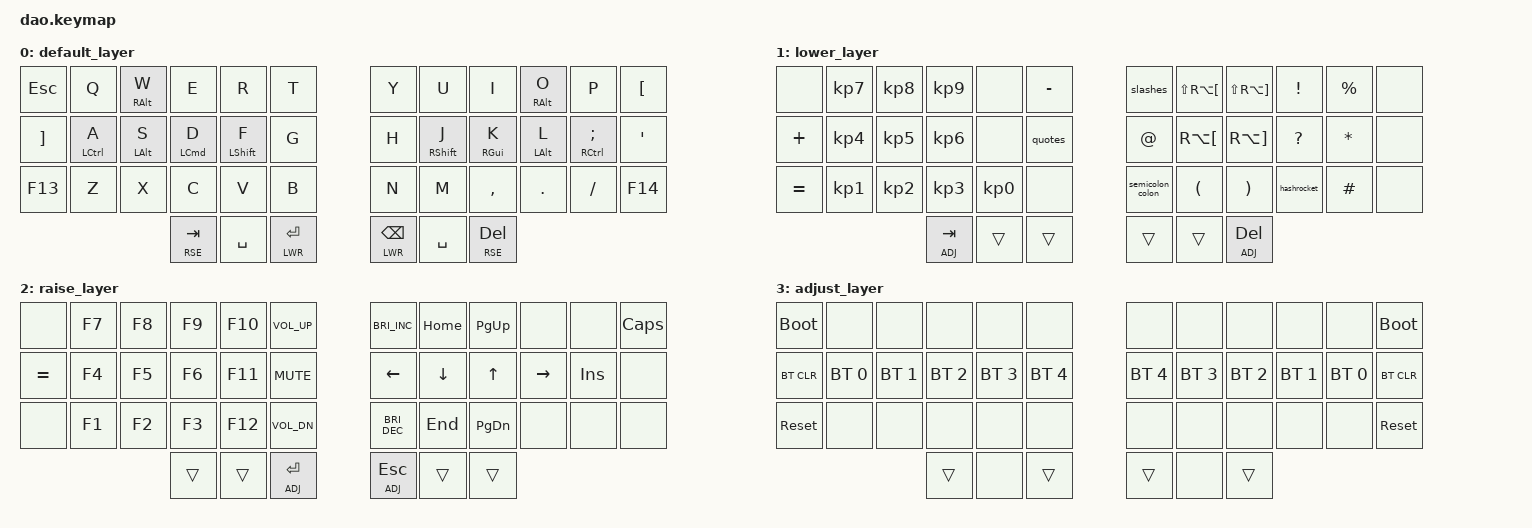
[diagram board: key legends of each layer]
/*
 * Copyright (c) 2021 Rafael Yumagulov
 *
 * SPDX-License-Identifier: MIT
 */

#include <behaviors.dtsi>
#include <dt-bindings/zmk/bt.h>
#include <dt-bindings/zmk/keys.h>

#define DEF 0
#define LWR 1
#define RSE 2
#define ADJ 3

&lt { quick_tap_ms = <200>; };

&mt { quick_tap_ms = <200>; };

/ {
    chosen {
        zmk,matrix_transform = &default_transform;

        // zmk,matrix_transform = &extra_keys_transform;
    };
};

/ {
    #include "keys_uni_override.h"

    behaviors {
        home_mods_l: home_mods_l {
            compatible = "zmk,behavior-hold-tap";
            label = "HOME_MODS_L";
            bindings = <&kp>, <&kp>;

            #binding-cells = <2>;
            tapping-term-ms = <200>;
            flavor = "balanced";
            hold-trigger-key-positions = <6 7 9 8 10 11 23 18 19 20 21 22 30 31 32 33 34 41 34 35 36 38 39 40>;
        };

        home_mods_r: home_mods_r {
            compatible = "zmk,behavior-hold-tap";
            label = "HOME_MODS_R";
            bindings = <&kp>, <&kp>;

            #binding-cells = <2>;
            tapping-term-ms = <200>;
            flavor = "balanced";
            hold-trigger-key-positions = <0 1 2 3 4 5 12 13 14 15 16 17 24 25 26 27 28 29 36 41 38 39 37>;
        };

        quotes: quotes {
            compatible = "zmk,behavior-tap-dance";
            label = "QUOTES";
            bindings = <&kp BSLH>, <&kp GRAVE>, <&kp RA(NON_US_BACKSLASH)>;

            #binding-cells = <0>;
        };

        semicolon_colon: semicolon_colon {
            compatible = "zmk,behavior-tap-dance";
            label = "SEMICOLON_COLON";
            bindings = <&kp UNI_SEMICOLON>, <&kp UNI_COLON>;

            #binding-cells = <0>;
        };

        slashes: slashes {
            compatible = "zmk,behavior-tap-dance";
            label = "SLASHES";
            #binding-cells = <0>;
            bindings = <&kp LS(BSLH)>, <&kp LS(SEMI)>, <&kp LS(SINGLE_QUOTE)>;
        };
    };

    macros {
        hashrocket: hashrocket {
            compatible = "zmk,behavior-macro";
            #binding-cells = <0>;
            bindings = <&kp EQUAL &kp GT>;
            label = "HASHROCKET";
        };
    };

    keymap {
        compatible = "zmk,keymap";

        default_layer {
            bindings = <
&kp ESC   &kp Q                 &home_mods_l RIGHT_ALT W  &kp E                        &kp R                      &kp T          &kp Y              &kp U                       &kp I                     &home_mods_r RIGHT_ALT O  &kp P                         &kp LBKT
&kp RBKT  &home_mods_l LCTRL A  &home_mods_l LEFT_ALT S   &home_mods_l LEFT_COMMAND D  &home_mods_l LEFT_SHIFT F  &kp G          &kp H              &home_mods_r RIGHT_SHIFT J  &home_mods_r RIGHT_GUI K  &home_mods_r LEFT_ALT L   &home_mods_r RCTRL SEMICOLON  &kp APOS
&kp F13   &kp Z                 &kp X                     &kp C                        &kp V                      &kp B          &kp N              &kp M                       &kp COMMA                 &kp DOT                   &kp SLASH                     &kp F14
                                                          &lt RSE TAB                  &kp SPACE                  &lt LWR ENTER  &lt LWR BACKSPACE  &kp SPACE                   &lt RSE DEL
            >;
        };

        lower_layer {
            bindings = <
&none      &kp KP_N7  &kp KP_N8  &kp KP_N9    &none      &kp MINUS  &slashes          &kp LS(RA(LEFT_BRACKET))  &kp LS(RA(RIGHT_BRACKET))  &kp EXCL      &kp PERCENT   &none
&kp PLUS   &kp KP_N4  &kp KP_N5  &kp KP_N6    &none      &quotes    &kp AT            &kp RA(LEFT_BRACKET)      &kp RA(RIGHT_BRACKET)      &kp QUESTION  &kp ASTERISK  &none
&kp EQUAL  &kp KP_N1  &kp KP_N2  &kp KP_N3    &kp KP_N0  &none      &semicolon_colon  &kp LEFT_PARENTHESIS      &kp RIGHT_PARENTHESIS      &hashrocket   &kp HASH      &none
                                 &lt ADJ TAB  &trans     &trans     &trans            &trans                    &lt ADJ DEL
            >;
        };

        raise_layer {
            bindings = <
&none      &kp F7  &kp F8  &kp F9  &kp F10  &kp C_VOL_UP  &kp C_BRIGHTNESS_INC  &kp HOME        &kp PG_UP  &none      &none    &kp CLCK
&kp EQUAL  &kp F4  &kp F5  &kp F6  &kp F11  &kp C_MUTE    &kp LEFT_ARROW        &kp DOWN_ARROW  &kp UP     &kp RIGHT  &kp INS  &none
&none      &kp F1  &kp F2  &kp F3  &kp F12  &kp C_VOL_DN  &kp C_BRIGHTNESS_DEC  &kp END         &kp PG_DN  &none      &none    &none
                           &trans  &trans   &lt ADJ RET   &lt ADJ ESC           &trans          &trans
            >;
        };

        adjust_layer {
            bindings = <
&bootloader  &none         &none         &none         &none         &none         &none         &none         &none         &none         &none         &bootloader
&bt BT_CLR   &bt BT_SEL 0  &bt BT_SEL 1  &bt BT_SEL 2  &bt BT_SEL 3  &bt BT_SEL 4  &bt BT_SEL 4  &bt BT_SEL 3  &bt BT_SEL 2  &bt BT_SEL 1  &bt BT_SEL 0  &bt BT_CLR
&sys_reset   &none         &none         &none         &none         &none         &none         &none         &none         &none         &none         &sys_reset
                                         &trans        &none         &trans        &trans        &none         &trans
            >;
        };
    };
};
